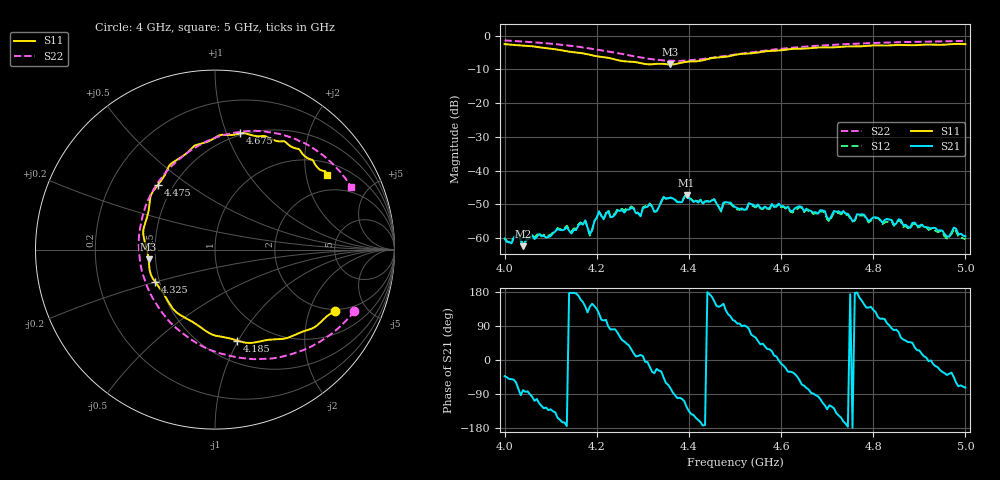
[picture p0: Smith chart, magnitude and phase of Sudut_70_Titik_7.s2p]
# Hz S RI R 50
! CMT, C1220, 16058040, 17.2.0/1
! Date: 15/08/2018 12:01:09
! Data: Format (Calibration Info)
! Freq  S11: Re/Im (F2)  S21: Re/Im (F2)  S12: Re/Im (F2)  S22: Re/Im (F2)
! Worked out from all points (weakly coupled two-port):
!   201 points, 4 GHz to 5 GHz, reference 50 ohm
!   highest |S21| = -47.27 dB at 4.395 GHz (marker M1); lowest = -62.4 dB at 4.04 GHz (marker M2)
!   lowest |S11| = -8.5 dB at 4.36 GHz (marker M3), VSWR 2.19, Z = 22.9 - j2.85 ohm
!   |S11| at or under -10 dB: nowhere
!   |S22| runs from -7.5 to -1.4 dB; largest |S21 - S12| = 0.00021
!   S11 on the Smith chart (normalised r, x): 4 GHz: 1.94, -3.01; 4.185 GHz: 0.71, -0.99; 4.325 GHz: 0.47, -0.20; 4.475 GHz: 0.41, +0.39; 4.675 GHz: 0.48, +1.12; 5 GHz: 1.40, +2.64
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4e9  0.6673 -0.3399  0.00072 -0.000662  0.00073 -0.000687  0.7768 -0.3425
4.03e9  0.6076 -0.3861  0.00028 -0.00116  0.000375 -0.00121  0.7187 -0.407
4.04e9  0.5849 -0.408  0.000137 -0.000743  0.000165 -0.000766  0.6968 -0.4282
4.17e9  0.1718 -0.5188  -0.00141 0.000718  -0.0014 0.000777  0.2782 -0.6086
4.185e9  0.1224 -0.5065  -0.000883 0.000721  -0.000858 0.000659  0.2148 -0.6103
4.205e9  0.0448 -0.4871  -0.00131 0.00209  -0.0014 0.00204  0.1278 -0.6009
4.215e9  0.00666 -0.4802  -0.000474 0.00184  -0.000503 0.00187  0.0833 -0.5919
4.275e9  -0.2077 -0.3548  0.00246 0.00132  0.00262 0.00133  -0.1709 -0.4733
4.295e9  -0.2561 -0.2972  0.00204 0.000483  0.0021 0.000424  -0.2479 -0.408
4.315e9  -0.3069 -0.2166  0.00303 -0.000979  0.00307 -0.00109  -0.3098 -0.3292
4.325e9  -0.3341 -0.18  0.00201 -0.0014  0.00198 -0.00148  -0.3368 -0.2874
4.335e9  -0.3533 -0.1473  0.00256 -0.00136  0.00257 -0.00138  -0.362 -0.2416
4.36e9  -0.37 -0.0535  0.00103 -0.00383  0.001 -0.00385  -0.4068 -0.1195
4.395e9  -0.3998 0.09  -0.00243 -0.00359  -0.00255 -0.0036  -0.4244 0.0548
4.455e9  -0.3555 0.3071  -0.00338 0.00156  -0.00339 0.00164  -0.3486 0.3232
4.47e9  -0.329 0.3454  -0.00202 0.0015  -0.00192 0.00153  -0.315 0.3775
4.475e9  -0.3171 0.3612  -0.00285 0.00175  -0.00274 0.00182  -0.3026 0.3939
4.5e9  -0.2651 0.4458  -0.000641 0.00281  -0.000596 0.00274  -0.2382 0.469
4.67e9  0.1316 0.6449  5.46e-05 -0.00238  -5.37e-06 -0.00226  0.2388 0.6609
4.675e9  0.1417 0.6477  -0.000117 -0.00242  -0.00011 -0.00234  0.2514 0.6603
4.835e9  0.4362 0.5681  -4.35e-05 0.00188  -7.06e-05 0.00177  0.5748 0.5456
5e9  0.6236 0.4141  0.00031 -0.00101  0.000246 -0.000926  0.7592 0.3482
